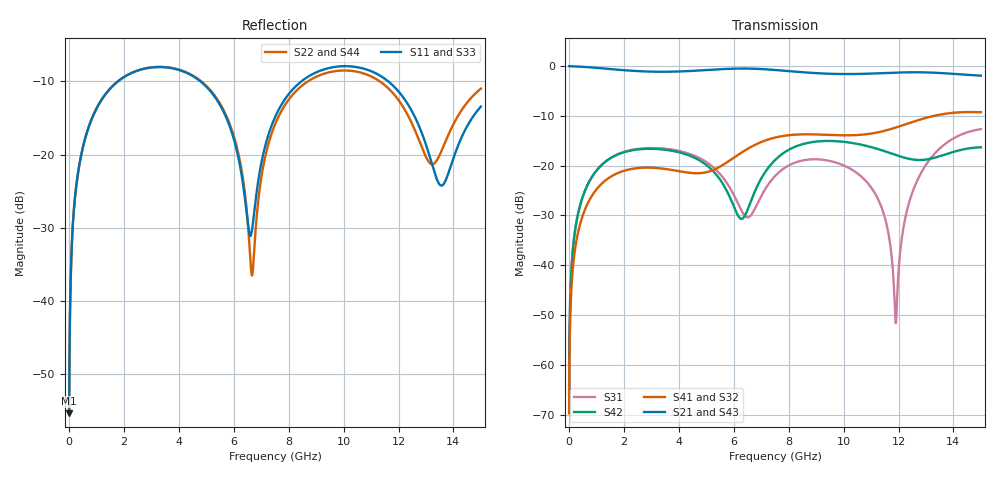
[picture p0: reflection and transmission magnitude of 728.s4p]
! Created with skrf 1.8.0 (http://scikit-rf.org).
# GHz S RI R 50.0
!freq ReS11 ImS11 ReS12 ImS12 ReS13 ImS13
! ReS14 ImS14
! ReS21 ImS21 ReS22 ImS22 ReS23 ImS23
! ReS24 ImS24
! ReS31 ImS31 ReS32 ImS32 ReS33 ImS33
! ReS34 ImS34
! ReS41 ImS41 ReS42 ImS42 ReS43 ImS43
! ReS44 ImS44
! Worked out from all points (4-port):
!   2499 points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, 5 MHz to 15 GHz, reference 50 ohm
!   strongest paths, dB at 5 MHz, 3.476 GHz, 7.19 GHz, 11.1 GHz, 15 GHz:
!     S21: 0.0, -1.1, -0.7, -1.5, -1.9
!     S43: 0.0, -1.1, -0.7, -1.5, -1.9
!     S41: -69.7, -20.6, -14.9, -13.5, -9.3
!     S32: -69.7, -20.7, -14.9, -13.5, -9.3
!     S42: -65.9, -16.8, -20.9, -16.4, -16.3
!     S31: -65.9, -16.6, -24.3, -25.2, -12.7
!   lowest |S11| = -55.4 dB at 5 MHz (marker M1), VSWR 1.00, Z = 50.1 + j0.104 ohm
!   |S11| at or under -10 dB: start of sweep to 1.781 GHz; 4.789 GHz to 8.462 GHz (3.672 GHz wide, 55.4 % of centre); 11.63 GHz to end of sweep
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0.005  0.00135 0.00104  0.9986 -0.00264  6.6e-05 0.000501  -6.43e-05 -0.000319
       0.9986 -0.00264  0.00135 0.00104  -6.43e-05 -0.000319  6.6e-05 0.000501
       6.6e-05 0.000501  -6.43e-05 -0.000319  0.00135 0.00104  0.9986 -0.00264
       -6.43e-05 -0.000319  6.6e-05 0.000501  0.9986 -0.00264  0.00135 0.00104
0.4126719  0.0265 0.0886  0.9633 -0.2151  0.0121 0.0388  -0.00999 -0.0244
           0.9633 -0.2151  0.0266 0.0886  -0.00998 -0.0244  0.0118 0.0389
           0.0121 0.0388  -0.00998 -0.0244  0.0265 0.0886  0.9633 -0.2151
           -0.00999 -0.0244  0.0118 0.0389  0.9633 -0.2151  0.0266 0.0886
2.025844  0.294 0.172  0.4973 -0.7604  0.1301 0.0471  -0.0892 0.00217
          0.4973 -0.7604  0.2953 0.171  -0.089 0.00195  0.1264 0.0529
          0.1301 0.0471  -0.089 0.00195  0.2941 0.1718  0.4973 -0.7605
          -0.0892 0.00217  0.1264 0.0529  0.4973 -0.7605  0.2951 0.1712
6.609004  0.0278 0.000469  -0.9407 -0.0723  -0.028 0.0141  -0.00575 0.1531
          -0.9407 -0.0723  0.015 -0.0111  -0.00913 0.1529  0.0379 0.0199
          -0.028 0.0141  -0.00913 0.1529  0.026 0.00078  -0.9407 -0.072
          -0.00575 0.1531  0.0379 0.0199  -0.9407 -0.072  0.0166 -0.0107
10.30429  0.3972 -0.046  0.0236 0.8325  0.085 -0.0329  0.1954 -0.0518
          0.0236 0.8325  0.3726 -0.0147  0.1957 -0.0451  0.0868 -0.1452
          0.085 -0.0329  0.1957 -0.0451  0.4002 -0.0452  0.0237 0.8315
          0.1954 -0.0518  0.0868 -0.1452  0.0237 0.8315  0.3743 -0.0151
11.90496  0.2122 -0.1869  0.5824 0.6331  0.00226 0.00134  0.1707 -0.1712
          0.5824 0.6331  0.2063 -0.1392  0.1771 -0.1641  -0.0797 -0.1001
          0.00226 0.00134  0.1771 -0.1641  0.2155 -0.1892  0.581 0.6328
          0.1707 -0.1712  -0.0797 -0.1001  0.581 0.6328  0.2102 -0.1411
15  0.1786 0.116  0.6402 -0.4825  0.2306 0.0323  -0.2523 -0.2341
    0.6402 -0.4825  0.2469 0.1365  -0.2407 -0.2431  0.1169 0.0986
    0.2306 0.0323  -0.2407 -0.2431  0.1777 0.1132  0.6419 -0.4825
    -0.2523 -0.2341  0.1169 0.0986  0.6419 -0.4825  0.2424 0.1293
